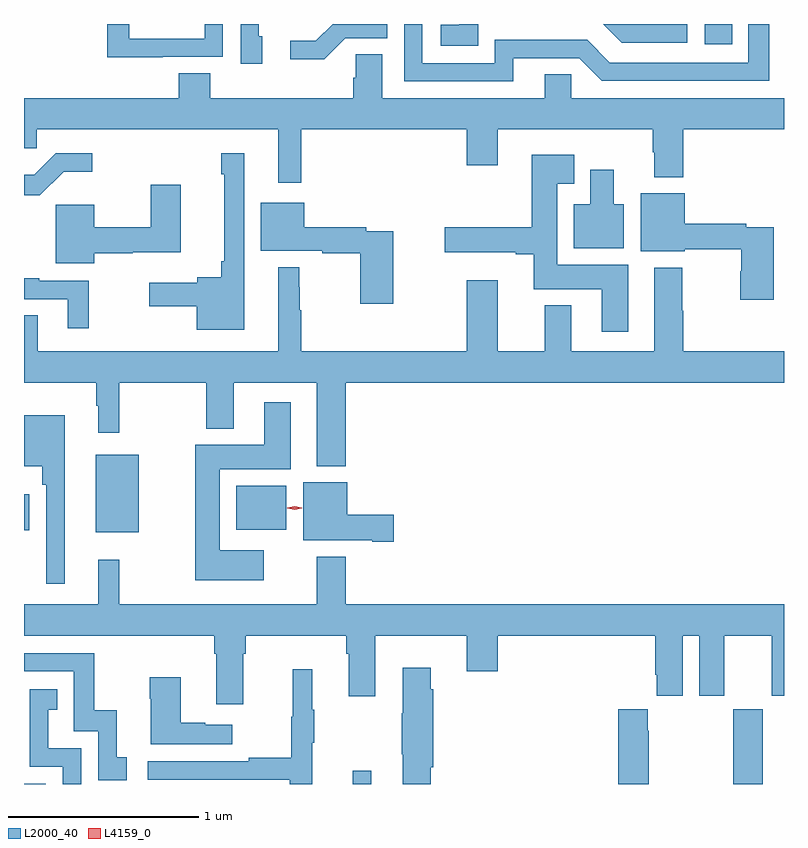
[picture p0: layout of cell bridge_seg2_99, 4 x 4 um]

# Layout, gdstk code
import gdstk
lib = gdstk.Library(unit=1e-6, precision=1e-09)
def R(c, l, rs):  # rectangles x0, y0, x1, y1
    for r in rs: c.add(gdstk.rectangle(r[:2], r[2:], *l))
def P(c, l, *ps):  # polygons
    for p in ps: c.add(gdstk.Polygon(p, *l))
L2000_40 = (2000, 40)
L4159_0 = (4159, 0)

bridge_seg2_99 = lib.new_cell('bridge_seg2_99')
R(bridge_seg2_99, L2000_40, [(282.558,645.523,282.672,645.525), (284.289,645.523,284.386,645.592), (286.291,645.523,286.446,645.916), (282.935,646.847,283.162,647.257), (282.558,646.859,282.586,647.047), (283.676,646.862,283.939,647.092)])
P(bridge_seg2_99, L2000_40, [(283.813,649.458),(283.794,649.458),(283.794,649.523),(283.698,649.523),(283.698,649.314),(283.813,649.314)],
  [(286.286,649.521),(286.237,649.521),(286.237,649.523),(286.14,649.523),(286.14,649.416),(286.286,649.416)],
  [(284.949,649.523),(284.849,649.523),(284.849,649.519),(284.751,649.519),(284.751,649.409),(284.949,649.409)],
  [(286.05,649.523),(285.954,649.523),(285.954,649.522),(285.74,649.522),(285.739,649.523),(285.606,649.523),(285.704,649.425),(286.05,649.425)],
  [(285.133,649.344),(285.48,649.344),(285.6,649.224),(286.48,649.224),(286.48,649.523),(286.371,649.523),(286.371,649.32),(285.642,649.32),(285.522,649.44),(285.036,649.44),(285.036,649.317),(284.655,649.317),(284.655,649.523),(284.559,649.523),(284.559,649.221),(285.133,649.221)],
  [(284.25,649.449),(284.469,649.449),(284.469,649.523),(284.182,649.523),(284.093,649.434),(283.959,649.434),(283.959,649.337),(284.137,649.337)],
  [(283.289,649.35),(283.605,649.35),(283.605,649.523),(283.509,649.523),(283.509,649.446),(283.113,649.446),(283.113,649.523),(282.997,649.523),(282.997,649.349),(283.289,649.349)],
  [(284.017,648.968),(284.888,648.968),(284.888,648.78),(285.052,648.78),(285.052,648.968),(285.868,648.968),(285.868,648.848),(285.875,648.848),(285.875,648.716),(286.028,648.716),(286.028,648.968),(286.558,648.968),(286.558,649.132),(285.438,649.132),(285.438,649.259),(285.299,649.259),(285.299,649.132),(284.443,649.132),(284.443,649.364),(284.304,649.364),(284.304,649.241),(284.291,649.241),(284.291,649.132),(283.538,649.132),(283.538,649.265),(283.373,649.265),(283.373,649.132),(282.558,649.132),(282.558,648.87),(282.625,648.87),(282.625,648.968),(283.895,648.968),(283.895,648.687),(284.017,648.687)],
  [(283.717,648.844),(283.596,648.844),(283.596,648.731),(283.613,648.731),(283.613,648.274),(283.596,648.274),(283.596,648.191),(283.47,648.191),(283.47,648.16),(283.218,648.16),(283.218,648.038),(283.466,648.038),(283.466,647.915),(283.717,647.915)],
  [(282.767,648.746),(282.916,648.746),(282.916,648.843),(282.726,648.843),(282.613,648.73),(282.558,648.73),(282.558,648.621),(282.641,648.621)],
  [(285.739,648.256),(285.364,648.256),(285.364,648.683),(285.454,648.683),(285.454,648.835),(285.23,648.835),(285.23,648.453),(284.772,648.453),(284.772,648.323),(285.146,648.323),(285.146,648.311),(285.242,648.311),(285.242,648.128),(285.599,648.128),(285.599,647.904),(285.739,647.904)],
  [(285.715,648.574),(285.661,648.574),(285.661,648.757),(285.539,648.757),(285.539,648.574),(285.452,648.574),(285.452,648.344),(285.715,648.344)],
  [(282.928,648.316),(283.13,648.316),(283.13,648.323),(283.384,648.323),(283.384,648.676),(283.226,648.676),(283.226,648.452),(282.928,648.452),(282.928,648.573),(282.725,648.573),(282.725,648.263),(282.928,648.263)],
  [(286.505,648.453),(286.358,648.453),(286.358,648.473),(286.036,648.473),(286.036,648.631),(285.803,648.631),(285.803,648.326),(286.036,648.326),(286.036,648.337),(286.334,648.337),(286.334,648.222),(286.327,648.222),(286.327,648.072),(286.505,648.072)],
  [(284.502,648.432),(284.36,648.432),(284.36,648.452),(284.032,648.452),(284.032,648.583),(283.805,648.583),(283.805,648.329),(284.128,648.329),(284.128,648.316),(284.329,648.316),(284.329,648.051),(284.502,648.051)],
  [(284.252,647.636),(286.558,647.636),(286.558,647.8),(286.028,647.8),(286.028,648.015),(286.023,648.015),(286.023,648.241),(285.875,648.241),(285.875,647.8),(285.439,647.8),(285.439,648.043),(285.299,648.043),(285.299,647.8),(285.052,647.8),(285.052,648.175),(284.888,648.175),(284.888,647.8),(284.017,647.8),(284.017,648.017),(284.009,648.017),(284.009,648.137),(284.006,648.137),(284.006,648.244),(283.895,648.244),(283.895,647.8),(282.631,647.8),(282.631,647.99),(282.558,647.99),(282.558,647.636),(282.939,647.636),(282.939,647.513),(282.95,647.513),(282.95,647.373),(283.06,647.373),(283.06,647.636),(283.516,647.636),(283.516,647.393),(283.663,647.393),(283.663,647.636),(284.099,647.636),(284.099,647.195),(284.252,647.195)],
  [(282.898,648.171),(282.637,648.171),(282.637,648.184),(282.558,648.184),(282.558,648.075),(282.788,648.075),(282.788,647.922),(282.898,647.922)],
  [(283.819,646.753),(283.588,646.753),(283.588,647.18),(283.963,647.18),(283.963,647.533),(283.823,647.533),(283.823,647.308),(283.459,647.308),(283.459,646.595),(283.819,646.595)],
  [(282.772,647.464),(282.558,647.464),(282.558,647.195),(282.655,647.195),(282.655,647.099),(282.675,647.099),(282.675,646.578),(282.772,646.578)],
  [(284.503,646.94),(284.26,646.94),(284.26,647.11),(284.027,647.11),(284.027,646.805),(284.39,646.805),(284.39,646.798),(284.503,646.798)],
  [(283.711,646.208),(283.724,646.208),(283.724,646.304),(284.255,646.304),(284.255,646.208),(284.267,646.208),(284.267,645.984),(284.407,645.984),(284.407,646.304),(284.888,646.304),(284.888,646.116),(285.052,646.116),(285.052,646.304),(285.881,646.304),(285.881,646.099),(285.887,646.099),(285.887,645.987),(286.024,645.987),(286.024,646.304),(286.112,646.304),(286.112,645.987),(286.243,645.987),(286.243,646.304),(286.493,646.304),(286.493,645.987),(286.558,645.987),(286.558,646.468),(284.252,646.468),(284.252,646.72),(284.099,646.72),(284.099,646.468),(283.06,646.468),(283.06,646.702),(282.95,646.702),(282.95,646.468),(282.558,646.468),(282.558,646.304),(283.559,646.304),(283.559,646.208),(283.571,646.208),(283.571,645.942),(283.711,645.942)],
  [(283.099,645.663),(283.046,645.663),(283.046,645.91),(282.928,645.91),(282.928,646.212),(282.558,646.212),(282.558,646.116),(282.819,646.116),(282.819,645.801),(282.948,645.801),(282.948,645.543),(283.099,645.543)],
  [(284.698,645.612),(284.711,645.612),(284.711,646.022),(284.698,646.022),(284.698,646.135),(284.552,646.135),(284.552,645.896),(284.545,645.896),(284.545,645.679),(284.552,645.679),(284.552,645.523),(284.698,645.523)],
  [(284.075,645.739),(284.086,645.739),(284.086,645.913),(284.075,645.913),(284.075,646.126),(283.972,646.126),(283.972,645.876),(283.965,645.876),(283.965,645.662),(283.741,645.662),(283.741,645.642),(283.209,645.642),(283.209,645.546),(283.957,645.546),(283.957,645.523),(284.075,645.523)],
  [(283.654,645.835),(283.511,645.835),(283.511,645.845),(283.384,645.845),(283.384,646.084),(283.219,646.084),(283.219,645.971),(283.226,645.971),(283.226,645.731),(283.654,645.731)],
  [(282.858,645.711),(282.685,645.711),(282.685,645.915),(282.734,645.915),(282.734,646.021),(282.588,646.021),(282.588,645.615),(282.762,645.615),(282.762,645.523),(282.858,645.523)],
  [(285.846,645.803),(285.841,645.803),(285.841,645.916),(285.686,645.916),(285.686,645.523),(285.846,645.523)])
P(bridge_seg2_99, L4159_0, [(283.982,646.966),(283.944,646.975),(283.944,646.976),(283.944,646.976),(283.982,646.986),(284.021,646.976),(284.021,646.976),(284.021,646.975)])

lib.write_gds('bridge_seg2_99.gds')
